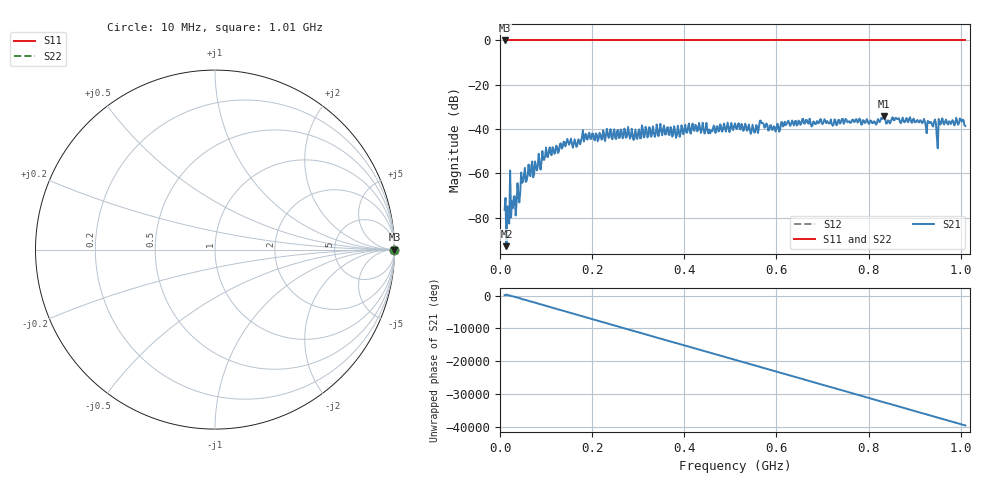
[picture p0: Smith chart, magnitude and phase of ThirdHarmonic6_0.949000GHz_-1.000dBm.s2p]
! 8/16/2025 6:50:06 AM
! C:\ANRITSUVNA\TEMP\TEMP.S2P
! CHANNEL.1
! TR.MEASUREMENT
! RAW.DATA
! RF.CORRECTION.OFF
! AVERAGING.OFF
! IF.BANDWIDTH: 5KHZ
! SWEEPTYPE:  FREQ.SWEEP(Linear)
! Reference Plane Port Info
! PORT:  PORT1  PORT2
! DISTANCE:  0  m  0  m
! TIME:  0  s  0  s
! PHASE.OFFSET:  0  deg.  0  deg.
! LOSS:  0  dB  0  dB
! REF.LOSS:  0  dB  0  dB
! REF.FREQ:  0  Hz  0  Hz
! Power Info
! POWER:  -20  dBm  -20  dBm
! EFF.POWER:  -20  dBm  -20  dBm
! SOURCE.ATTEN:  0  dB  0  dB
! TEST.ATTEN:  0  dB  0  dB
# GHZ S RI R 50.0
! FREQ.GHZ  S11RE  S11IM  S21RE  S21IM  S12RE  S12IM  S22RE  S22IM
!; PortSelection: Port_12
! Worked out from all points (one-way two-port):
!   501 points, 10 MHz to 1.01 GHz, reference 50 ohm
!   highest |S21| = -34.20 dB at 834 MHz (marker M1); lowest = -92.9 dB at 14 MHz (marker M2)
!   lowest |S11| = 0.0 dB at 10 MHz (marker M3)
!   |S11| at or under -10 dB: nowhere
!   |S22| runs from 0.0 to 0.0 dB; largest |S21 - S12| = 1
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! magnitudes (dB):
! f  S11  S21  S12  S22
! 10 MHz  0.0  -76.5  0.0  0.0
! 14 MHz  0.0  -92.9  0.0  0.0
! 26 MHz  0.0  -72.7  0.0  0.0
! 28 MHz  0.0  -75.8  0.0  0.0
! 38 MHz  0.0  -64.5  0.0  0.0
! 50 MHz  0.0  -63.8  0.0  0.0
! 76 MHz  0.0  -54.6  0.0  0.0
! 96 MHz  0.0  -53.9  0.0  0.0
! 178 MHz  0.0  -43.5  0.0  0.0
! 344 MHz  0.0  -43.3  0.0  0.0
! 386 MHz  0.0  -38.5  0.0  0.0
! 422 MHz  0.0  -40.8  0.0  0.0
! 456 MHz  0.0  -41.9  0.0  0.0
! 510 MHz  0.0  -37.5  0.0  0.0
! 678 MHz  0.0  -38.5  0.0  0.0
! 834 MHz  0.0  -34.2  0.0  0.0
! 844 MHz  0.0  -36.3  0.0  0.0
! 932 MHz  0.0  -37.3  0.0  0.0
! 952 MHz  0.0  -35.5  0.0  0.0
! 956 MHz  0.0  -38.0  0.0  0.0
! 1.002 GHz  0.0  -36.7  0.0  0.0
! 1.01 GHz  0.0  -38.7  0.0  0.0
